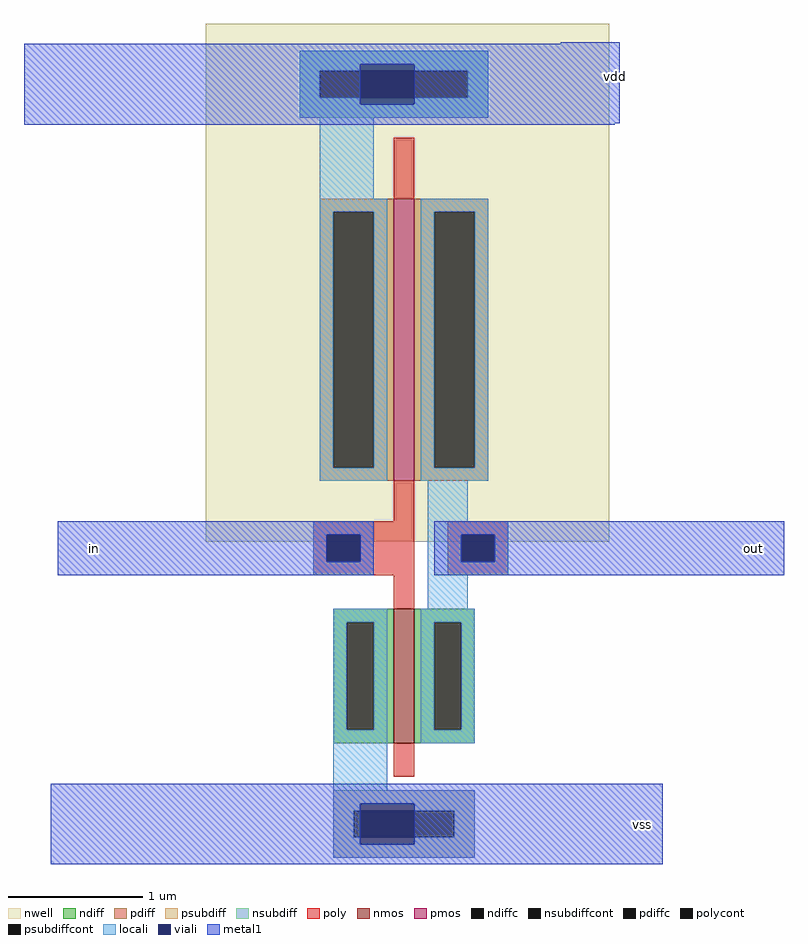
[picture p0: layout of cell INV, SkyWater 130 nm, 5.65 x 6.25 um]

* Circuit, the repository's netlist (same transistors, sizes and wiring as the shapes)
* SPICE3 file created from INV.ext - technology: sky130A

X0 out in vdd vdd sky130_fd_pr__pfet_01v8 ad=1.155 pd=5.3 as=1.155 ps=5.3 w=2.1 l=0.15
X1 out in vss vss sky130_fd_pr__nfet_01v8 ad=0.45 pd=2.9 as=0.45 ps=2.9 w=1 l=0.15

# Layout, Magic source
magic
tech sky130A
<< nwell >>
rect -150 -150 150 235
<< nmos >>
rect -10 -300 5 -200
<< pmos >>
rect -10 -105 5 105
<< ndiff >>
rect -55 -210 -10 -200
rect -55 -290 -45 -210
rect -25 -290 -10 -210
rect -55 -300 -10 -290
rect 5 -210 50 -200
rect 5 -290 20 -210
rect 40 -290 50 -210
rect 5 -300 50 -290
<< pdiff >>
rect -65 95 -10 105
rect -65 -95 -55 95
rect -25 -95 -10 95
rect -65 -105 -10 -95
rect 5 95 60 105
rect 5 -95 20 95
rect 50 -95 60 95
rect 5 -105 60 -95
<< ndiffc >>
rect -45 -290 -25 -210
rect 20 -290 40 -210
<< pdiffc >>
rect -55 -95 -25 95
rect 20 -95 50 95
<< psubdiff >>
rect -55 -350 50 -335
rect -55 -370 -40 -350
rect 35 -370 50 -350
rect -55 -385 50 -370
<< nsubdiff >>
rect -80 200 60 215
rect -80 180 -65 200
rect 45 180 60 200
rect -80 165 60 180
<< psubdiffcont >>
rect -40 -370 35 -350
<< nsubdiffcont >>
rect -65 180 45 200
<< poly >>
rect -10 105 5 150
rect -10 -135 5 -105
rect -70 -145 5 -135
rect -70 -165 -60 -145
rect -35 -165 5 -145
rect -70 -175 5 -165
rect 30 -145 75 -135
rect 30 -165 40 -145
rect 65 -165 75 -145
rect 30 -175 75 -165
rect -10 -200 5 -175
rect -10 -325 5 -300
<< polycont >>
rect -60 -165 -35 -145
rect 40 -165 65 -145
<< locali >>
rect -80 205 60 215
rect -80 200 -35 205
rect 5 200 60 205
rect -80 180 -65 200
rect 45 180 60 200
rect -80 175 -35 180
rect 5 175 60 180
rect -80 165 60 175
rect -65 105 -25 165
rect -65 95 -15 105
rect -65 -95 -55 95
rect -25 -95 -15 95
rect -65 -105 -15 -95
rect 10 95 60 105
rect 10 -95 20 95
rect 50 -95 60 95
rect 10 -105 60 -95
rect 15 -135 45 -105
rect -70 -145 -25 -135
rect -70 -165 -60 -145
rect -35 -165 -25 -145
rect -70 -175 -25 -165
rect 15 -145 75 -135
rect 15 -165 40 -145
rect 65 -165 75 -145
rect 15 -175 75 -165
rect 15 -200 45 -175
rect -55 -210 -15 -200
rect -55 -290 -45 -210
rect -25 -290 -15 -210
rect -55 -335 -15 -290
rect 10 -210 50 -200
rect 10 -290 20 -210
rect 40 -290 50 -210
rect 10 -300 50 -290
rect -55 -345 50 -335
rect -55 -350 -35 -345
rect 5 -350 50 -345
rect -55 -370 -40 -350
rect 35 -370 50 -350
rect -55 -375 -35 -370
rect 5 -375 50 -370
rect -55 -385 50 -375
<< viali >>
rect -35 200 5 205
rect -35 180 5 200
rect -35 175 5 180
rect -60 -165 -35 -145
rect 40 -165 65 -145
rect -35 -350 5 -345
rect -35 -370 5 -350
rect -35 -375 5 -370
<< metal1 >>
rect 114 220 158 221
rect -285 205 158 220
rect -285 175 -35 205
rect 5 175 158 205
rect -285 161 158 175
rect -285 160 154 161
rect -260 -145 -25 -135
rect -260 -165 -60 -145
rect -35 -165 -25 -145
rect -260 -175 -25 -165
rect 20 -145 280 -135
rect 20 -165 40 -145
rect 65 -165 280 -145
rect 20 -175 280 -165
rect -265 -345 190 -330
rect -265 -375 -35 -345
rect 5 -375 190 -345
rect -265 -390 190 -375
<< labels >>
rlabel metal1 155 196 155 196 1 vdd
rlabel metal1 250 -165 265 -145 1 out
rlabel metal1 175 -360 175 -360 1 vss
rlabel metal1 -240 -165 -225 -145 1 in
<< end >>
